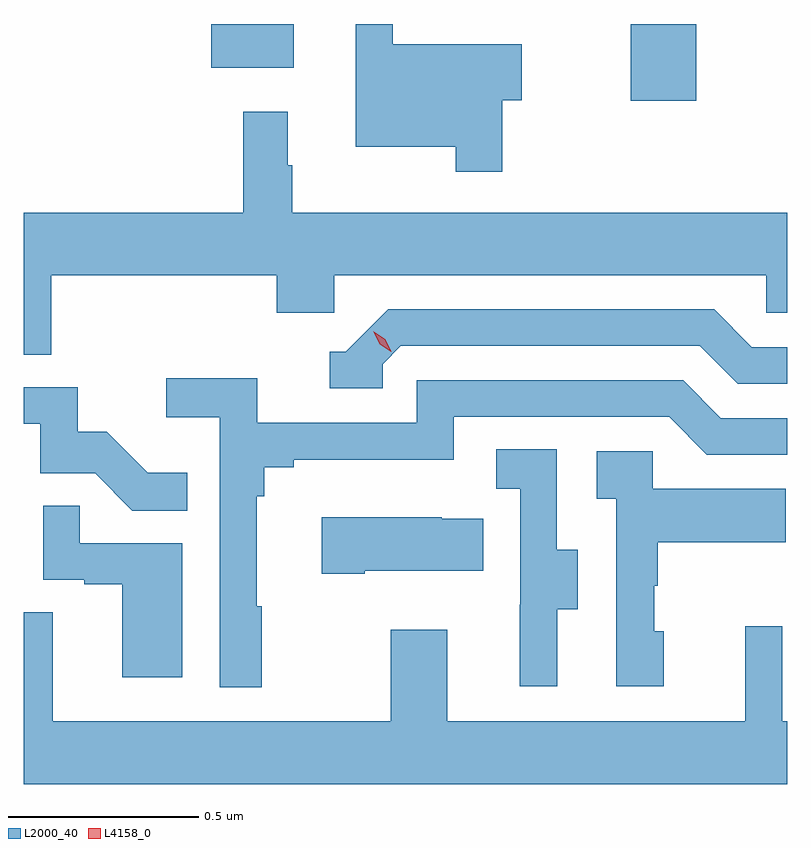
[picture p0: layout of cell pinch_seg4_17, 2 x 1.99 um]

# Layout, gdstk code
import gdstk
lib = gdstk.Library(unit=1e-6, precision=1e-09)
def R(c, l, rs):  # rectangles x0, y0, x1, y1
    for r in rs: c.add(gdstk.rectangle(r[:2], r[2:], *l))
def P(c, l, *ps):  # polygons
    for p in ps: c.add(gdstk.Polygon(p, *l))
L2000_40 = (2000, 40)
L4158_0 = (4158, 0)

pinch_seg4_17 = lib.new_cell('pinch_seg4_17')
R(pinch_seg4_17, L2000_40, [(1115.504,823.917,1115.675,824.118), (1114.406,824.003,1114.621,824.118)])
P(pinch_seg4_17, L2000_40, [(1115.167,823.918),(1115.218,823.918),(1115.218,824.065),(1114.881,824.065),(1114.881,824.118),(1114.784,824.118),(1114.784,823.796),(1115.046,823.796),(1115.046,823.731),(1115.167,823.731)],
  [(1113.986,823.46),(1114.577,823.46),(1114.577,823.362),(1114.728,823.362),(1114.728,823.46),(1115.859,823.46),(1115.859,823.362),(1115.914,823.362),(1115.914,823.624),(1114.618,823.624),(1114.618,823.748),(1114.606,823.748),(1114.606,823.888),(1114.489,823.888),(1114.489,823.624),(1113.914,823.624),(1113.914,823.252),(1113.986,823.252)],
  [(1114.854,823.227),(1114.902,823.275),(1115.685,823.275),(1115.784,823.176),(1115.914,823.176),(1115.914,823.272),(1115.821,823.272),(1115.722,823.371),(1114.869,823.371),(1114.758,823.26),(1114.715,823.26),(1114.715,823.164),(1114.854,823.164)],
  [(1114.537,822.593),(1114.525,822.593),(1114.525,822.881),(1114.544,822.881),(1114.544,822.958),(1114.621,822.958),(1114.621,822.977),(1115.04,822.977),(1115.04,823.089),(1115.604,823.089),(1115.703,822.99),(1115.914,822.99),(1115.914,823.086),(1115.74,823.086),(1115.641,823.185),(1114.944,823.185),(1114.944,823.074),(1114.526,823.074),(1114.526,823.19),(1114.287,823.19),(1114.287,823.088),(1114.428,823.088),(1114.428,822.381),(1114.537,822.381)],
  [(1114.343,822.943),(1114.239,822.943),(1114.132,823.05),(1114.056,823.05),(1114.056,823.167),(1113.914,823.167),(1113.914,823.071),(1113.957,823.071),(1113.957,822.942),(1114.101,822.942),(1114.199,822.844),(1114.343,822.844)],
  [(1115.311,822.586),(1115.365,822.586),(1115.365,822.741),(1115.31,822.741),(1115.31,823.004),(1115.151,823.004),(1115.151,822.901),(1115.214,822.901),(1115.214,822.597),(1115.213,822.597),(1115.213,822.384),(1115.311,822.384)],
  [(1115.59,822.528),(1115.565,822.528),(1115.565,822.647),(1115.575,822.647),(1115.575,822.761),(1115.909,822.761),(1115.909,822.901),(1115.562,822.901),(1115.562,822.999),(1115.415,822.999),(1115.415,822.875),(1115.466,822.875),(1115.466,822.384),(1115.59,822.384)],
  [(1114.33,822.759),(1114.061,822.759),(1114.061,822.857),(1113.966,822.857),(1113.966,822.663),(1114.073,822.663),(1114.073,822.651),(1114.172,822.651),(1114.172,822.408),(1114.33,822.408)],
  [(1114.807,822.686),(1115.117,822.686),(1115.117,822.823),(1115.009,822.823),(1115.009,822.826),(1114.695,822.826),(1114.695,822.679),(1114.807,822.679)],
  [(1115.914,822.292),(1115.901,822.292),(1115.901,822.541),(1115.804,822.541),(1115.804,822.292),(1115.023,822.292),(1115.023,822.532),(1114.876,822.532),(1114.876,822.292),(1113.991,822.292),(1113.991,822.578),(1113.914,822.578),(1113.914,822.128),(1115.914,822.128)])
P(pinch_seg4_17, L4158_0, [(1114.877,823.26),(1114.846,823.28),(1114.83,823.313),(1114.83,823.313),(1114.83,823.313),(1114.861,823.293),(1114.877,823.26),(1114.877,823.26)])

lib.write_gds('pinch_seg4_17.gds')
